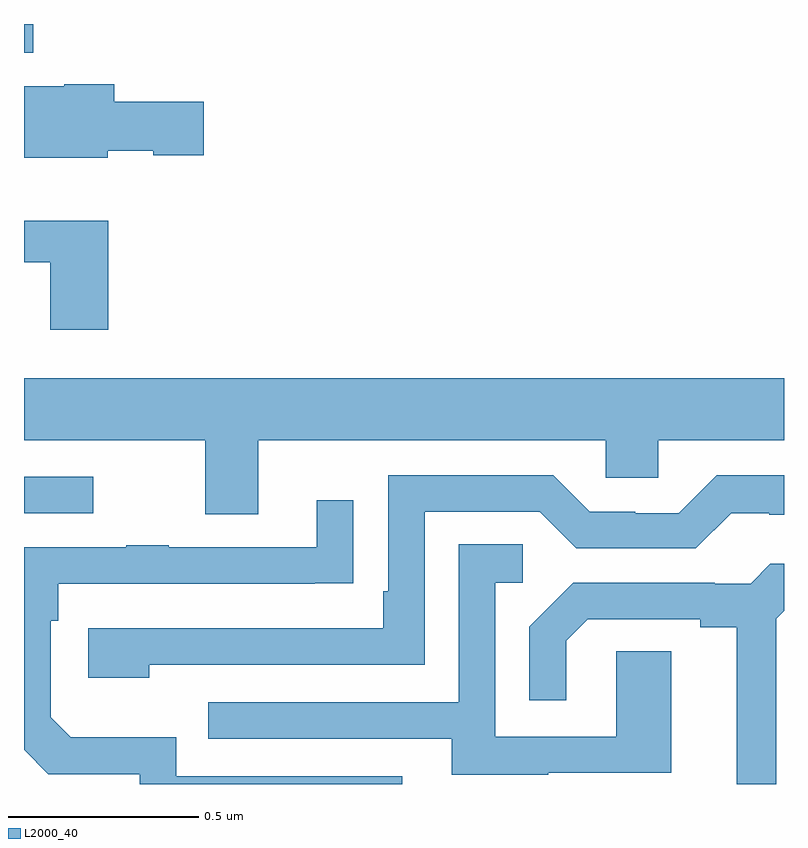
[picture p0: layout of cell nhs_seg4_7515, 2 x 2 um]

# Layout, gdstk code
import gdstk
lib = gdstk.Library(unit=1e-6, precision=1e-09)
def R(c, l, rs):  # rectangles x0, y0, x1, y1
    for r in rs: c.add(gdstk.rectangle(r[:2], r[2:], *l))
def P(c, l, *ps):  # polygons
    for p in ps: c.add(gdstk.Polygon(p, *l))
L2000_40 = (2000, 40)

nhs_seg4_7515 = lib.new_cell('nhs_seg4_7515')
R(nhs_seg4_7515, L2000_40, [(203,812.613,203.182,812.709), (203,813.824,203.024,813.9)])
P(nhs_seg4_7515, L2000_40, [(203.22,813.566),(203.34,813.566),(203.34,813.554),(203.473,813.554),(203.473,813.696),(203.237,813.696),(203.237,813.742),(203.106,813.742),(203.106,813.736),(203,813.736),(203,813.548),(203.22,813.548)],
  [(203.222,813.382),(203,813.382),(203,813.273),(203.069,813.273),(203.069,813.096),(203.222,813.096)],
  [(203.617,812.804),(204.531,812.804),(204.531,812.706),(204.669,812.706),(204.669,812.804),(205,812.804),(205,812.968),(203,812.968),(203,812.804),(203.477,812.804),(203.477,812.61),(203.617,812.61)],
  [(203.33,812.214),(204.054,812.214),(204.054,812.616),(204.357,812.616),(204.453,812.52),(204.768,812.52),(204.861,812.613),(204.961,812.613),(204.961,812.609),(205,812.609),(205,812.713),(204.823,812.713),(204.723,812.613),(204.608,812.613),(204.608,812.616),(204.489,812.616),(204.393,812.712),(203.958,812.712),(203.958,812.407),(203.945,812.407),(203.945,812.31),(203.169,812.31),(203.169,812.18),(203.33,812.18)],
  [(203.995,811.92),(203.4,811.92),(203.4,812.023),(203.123,812.023),(203.07,812.076),(203.07,812.33),(203.09,812.33),(203.09,812.427),(203.765,812.427),(203.765,812.428),(203.867,812.428),(203.867,812.647),(203.771,812.647),(203.771,812.523),(203.381,812.523),(203.381,812.528),(203.269,812.528),(203.269,812.523),(203,812.523),(203,811.99),(203.064,811.926),(203.304,811.926),(203.304,811.9),(203.995,811.9)],
  [(204.379,811.929),(204.703,811.929),(204.703,812.249),(204.558,812.249),(204.558,812.025),(204.24,812.025),(204.24,812.43),(204.313,812.43),(204.313,812.531),(204.144,812.531),(204.144,812.115),(203.485,812.115),(203.485,812.019),(204.125,812.019),(204.125,811.925),(204.379,811.925)],
  [(204.979,812.335),(205,812.356),(205,812.479),(204.964,812.479),(204.912,812.427),(204.818,812.427),(204.818,812.43),(204.446,812.43),(204.33,812.314),(204.33,812.121),(204.427,812.121),(204.427,812.277),(204.484,812.334),(204.779,812.334),(204.779,812.312),(204.875,812.312),(204.875,811.9),(204.979,811.9)])

lib.write_gds('nhs_seg4_7515.gds')
